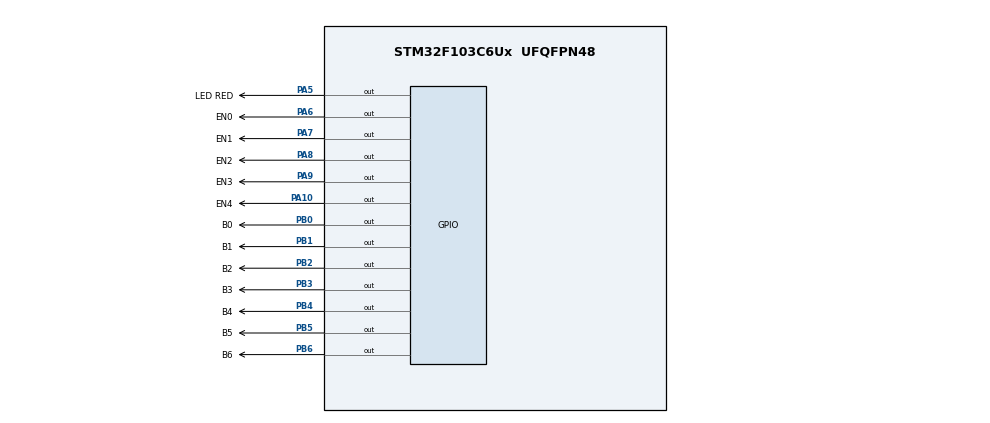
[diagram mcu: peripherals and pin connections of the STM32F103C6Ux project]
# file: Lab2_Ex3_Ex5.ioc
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Mcu.Family=STM32F1
Mcu.Name=STM32F103C6Ux
Mcu.Package=UFQFPN48
NVIC.PriorityGroup=NVIC_PRIORITYGROUP_4
NVIC.TIM2_IRQn=true\:0\:0\:false\:false\:true\:true\:true
PA10.GPIO_Label=EN4
PA10.Signal=GPIO_Output
PA13.Mode=Serial_Wire
PA13.Signal=SYS_JTMS-SWDIO
PA14.Mode=Serial_Wire
PA14.Signal=SYS_JTCK-SWCLK
PA5.GPIO_Label=LED RED
PA5.Signal=GPIO_Output
PA6.GPIO_Label=EN0
PA6.Signal=GPIO_Output
PA7.GPIO_Label=EN1
PA7.Signal=GPIO_Output
PA8.GPIO_Label=EN2
PA8.Signal=GPIO_Output
PA9.GPIO_Label=EN3
PA9.Signal=GPIO_Output
PB0.GPIO_Label=B0
PB0.Signal=GPIO_Output
PB1.GPIO_Label=B1
PB1.Signal=GPIO_Output
PB2.GPIO_Label=B2
PB2.Signal=GPIO_Output
PB3.GPIO_Label=B3
PB3.Signal=GPIO_Output
PB4.GPIO_Label=B4
PB4.Signal=GPIO_Output
PB5.GPIO_Label=B5
PB5.Signal=GPIO_Output
PB6.GPIO_Label=B6
PB6.Signal=GPIO_Output
ProjectManager.HeapSize=0x200
ProjectManager.StackSize=0x400
ProjectManager.TargetToolchain=STM32CubeIDE
RCC.APB1Freq_Value=8000000
RCC.APB2Freq_Value=8000000
TIM2.Period=9
TIM2.Prescaler=7999
VP_TIM2_VS_ClockSourceINT.Mode=Internal
board=custom

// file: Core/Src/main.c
/* USER CODE BEGIN Header */
/**
  ******************************************************************************
  * @file           : main.c
  * @brief          : Main program body
  ******************************************************************************
  * @attention
  *
  * <h2><center>&copy; Copyright (c) 2025 STMicroelectronics.
  * All rights reserved.</center></h2>
  *
  * This software component is licensed by ST under BSD 3-Clause license,
  * the "License"; You may not use this file except in compliance with the
  * License. You may obtain a copy of the License at:
  *                        opensource.org/licenses/BSD-3-Clause
  *
  ******************************************************************************
  */
/* USER CODE END Header */
#include "main.h"

/* USER CODE BEGIN Includes */
#include "software_timer.h"
/* USER CODE END Includes */

TIM_HandleTypeDef htim2;

/* USER CODE BEGIN PV */
const int MAX_LED = 4;
int index_led = 0;
int led_buffer[4] = {1, 5, 0, 8};
int hour=15, minute=8, second=50;
/* USER CODE END PV */

void SystemClock_Config(void);
static void MX_GPIO_Init(void);
static void MX_TIM2_Init(void);
/* USER CODE BEGIN PFP */
void display7SEG(int num);
void update7SEG(int index);
void updateClockBuffer();
/* USER CODE END PFP */

int main(void)
{

  /* MCU Configuration--------------------------------------------------------*/

  /* Reset of all peripherals, Initializes the Flash interface and the Systick. */
  HAL_Init();

  /* Configure the system clock */
  SystemClock_Config();

  /* Initialize all configured peripherals */
  MX_GPIO_Init();
  MX_TIM2_Init();
  /* USER CODE BEGIN 2 */
  HAL_TIM_Base_Start_IT(&htim2);
  /* USER CODE END 2 */

  /* Infinite loop */
  /* USER CODE BEGIN WHILE */
  setTimer(25);
  setTimer1(100);
  while (1)
  {
	  if (timer_flag == 1) {
		  //PA5 CHECK
		  HAL_GPIO_TogglePin(LED_RED_GPIO_Port, LED_RED_Pin);

		  //TO DO
		  update7SEG(index_led);
		  index_led = (index_led + 1) % MAX_LED;

		  //RESET
		  setTimer(25);
	  }

	  if (timer1_flag == 1) {
		  updateClockBuffer();
		  HAL_GPIO_TogglePin(EN4_GPIO_Port, EN4_Pin);

		  setTimer1(100);
	  }

    /* USER CODE END WHILE */

  }
}

void SystemClock_Config(void)
{
  RCC_OscInitTypeDef RCC_OscInitStruct = {0};
  RCC_ClkInitTypeDef RCC_ClkInitStruct = {0};

  /** Initializes the RCC Oscillators according to the specified parameters
  * in the RCC_OscInitTypeDef structure.
  */
  RCC_OscInitStruct.OscillatorType = RCC_OSCILLATORTYPE_HSI;
  RCC_OscInitStruct.HSIState = RCC_HSI_ON;
  RCC_OscInitStruct.HSICalibrationValue = RCC_HSICALIBRATION_DEFAULT;
  RCC_OscInitStruct.PLL.PLLState = RCC_PLL_NONE;
  if (HAL_RCC_OscConfig(&RCC_OscInitStruct) != HAL_OK)
  {
    Error_Handler();
  }
  /** Initializes the CPU, AHB and APB buses clocks
  */
  RCC_ClkInitStruct.ClockType = RCC_CLOCKTYPE_HCLK|RCC_CLOCKTYPE_SYSCLK
                              |RCC_CLOCKTYPE_PCLK1|RCC_CLOCKTYPE_PCLK2;
  RCC_ClkInitStruct.SYSCLKSource = RCC_SYSCLKSOURCE_HSI;
  RCC_ClkInitStruct.AHBCLKDivider = RCC_SYSCLK_DIV1;
  RCC_ClkInitStruct.APB1CLKDivider = RCC_HCLK_DIV1;
  RCC_ClkInitStruct.APB2CLKDivider = RCC_HCLK_DIV1;

  if (HAL_RCC_ClockConfig(&RCC_ClkInitStruct, FLASH_LATENCY_0) != HAL_OK)
  {
    Error_Handler();
  }
}

static void MX_TIM2_Init(void)
{

  TIM_ClockConfigTypeDef sClockSourceConfig = {0};
  TIM_MasterConfigTypeDef sMasterConfig = {0};

  htim2.Instance = TIM2;
  htim2.Init.Prescaler = 7999;
  htim2.Init.CounterMode = TIM_COUNTERMODE_UP;
  htim2.Init.Period = 9;
  htim2.Init.ClockDivision = TIM_CLOCKDIVISION_DIV1;
  htim2.Init.AutoReloadPreload = TIM_AUTORELOAD_PRELOAD_DISABLE;
  if (HAL_TIM_Base_Init(&htim2) != HAL_OK)
  {
    Error_Handler();
  }
  sClockSourceConfig.ClockSource = TIM_CLOCKSOURCE_INTERNAL;
  if (HAL_TIM_ConfigClockSource(&htim2, &sClockSourceConfig) != HAL_OK)
  {
    Error_Handler();
  }
  sMasterConfig.MasterOutputTrigger = TIM_TRGO_RESET;
  sMasterConfig.MasterSlaveMode = TIM_MASTERSLAVEMODE_DISABLE;
  if (HAL_TIMEx_MasterConfigSynchronization(&htim2, &sMasterConfig) != HAL_OK)
  {
    Error_Handler();
  }

}

static void MX_GPIO_Init(void)
{
  GPIO_InitTypeDef GPIO_InitStruct = {0};

  /* GPIO Ports Clock Enable */
  __HAL_RCC_GPIOA_CLK_ENABLE();
  __HAL_RCC_GPIOB_CLK_ENABLE();

  /*Configure GPIO pin Output Level */
  HAL_GPIO_WritePin(GPIOA, LED_RED_Pin|EN0_Pin|EN1_Pin|EN2_Pin
                          |EN3_Pin|EN4_Pin, GPIO_PIN_RESET);

  /*Configure GPIO pin Output Level */
  HAL_GPIO_WritePin(GPIOB, B0_Pin|B1_Pin|B2_Pin|B3_Pin
                          |B4_Pin|B5_Pin|B6_Pin, GPIO_PIN_RESET);

  /*Configure GPIO pins : LED_RED_Pin EN0_Pin EN1_Pin EN2_Pin
                           EN3_Pin EN4_Pin */
  GPIO_InitStruct.Pin = LED_RED_Pin|EN0_Pin|EN1_Pin|EN2_Pin
                          |EN3_Pin|EN4_Pin;
  GPIO_InitStruct.Mode = GPIO_MODE_OUTPUT_PP;
  GPIO_InitStruct.Pull = GPIO_NOPULL;
  GPIO_InitStruct.Speed = GPIO_SPEED_FREQ_LOW;
  HAL_GPIO_Init(GPIOA, &GPIO_InitStruct);

  /*Configure GPIO pins : B0_Pin B1_Pin B2_Pin B3_Pin
                           B4_Pin B5_Pin B6_Pin */
  GPIO_InitStruct.Pin = B0_Pin|B1_Pin|B2_Pin|B3_Pin
                          |B4_Pin|B5_Pin|B6_Pin;
  GPIO_InitStruct.Mode = GPIO_MODE_OUTPUT_PP;
  GPIO_InitStruct.Pull = GPIO_NOPULL;
  GPIO_InitStruct.Speed = GPIO_SPEED_FREQ_LOW;
  HAL_GPIO_Init(GPIOB, &GPIO_InitStruct);

}

/* USER CODE BEGIN 4 */
void display7SEG(int num) {
	if (num == 0) {
		HAL_GPIO_WritePin(B0_GPIO_Port, B0_Pin, RESET);
		HAL_GPIO_WritePin(B1_GPIO_Port, B1_Pin, RESET);
		HAL_GPIO_WritePin(B2_GPIO_Port, B2_Pin, RESET);
		HAL_GPIO_WritePin(B3_GPIO_Port, B3_Pin, RESET);
		HAL_GPIO_WritePin(B4_GPIO_Port, B4_Pin, RESET);
		HAL_GPIO_WritePin(B5_GPIO_Port, B5_Pin, RESET);
		HAL_GPIO_WritePin(B6_GPIO_Port, B6_Pin, SET);
	}

	if (num == 1) {
		HAL_GPIO_WritePin(B0_GPIO_Port, B0_Pin, SET);
		HAL_GPIO_WritePin(B1_GPIO_Port, B1_Pin, RESET);
		HAL_GPIO_WritePin(B2_GPIO_Port, B2_Pin, RESET);
		HAL_GPIO_WritePin(B3_GPIO_Port, B3_Pin, SET);
		HAL_GPIO_WritePin(B4_GPIO_Port, B4_Pin, SET);
		HAL_GPIO_WritePin(B5_GPIO_Port, B5_Pin, SET);
		HAL_GPIO_WritePin(B6_GPIO_Port, B6_Pin, SET);
	}

	if (num == 2) {
		HAL_GPIO_WritePin(B0_GPIO_Port, B0_Pin, RESET);
		HAL_GPIO_WritePin(B1_GPIO_Port, B1_Pin, RESET);
		HAL_GPIO_WritePin(B2_GPIO_Port, B2_Pin, SET);
		HAL_GPIO_WritePin(B3_GPIO_Port, B3_Pin, RESET);
		HAL_GPIO_WritePin(B4_GPIO_Port, B4_Pin, RESET);
		HAL_GPIO_WritePin(B5_GPIO_Port, B5_Pin, SET);
		HAL_GPIO_WritePin(B6_GPIO_Port, B6_Pin, RESET);
	}

	if (num == 3) {
		HAL_GPIO_WritePin(B0_GPIO_Port, B0_Pin, RESET);
		HAL_GPIO_WritePin(B1_GPIO_Port, B1_Pin, RESET);
		HAL_GPIO_WritePin(B2_GPIO_Port, B2_Pin, RESET);
		HAL_GPIO_WritePin(B3_GPIO_Port, B3_Pin, RESET);
		HAL_GPIO_WritePin(B4_GPIO_Port, B4_Pin, SET);
		HAL_GPIO_WritePin(B5_GPIO_Port, B5_Pin, SET);
		HAL_GPIO_WritePin(B6_GPIO_Port, B6_Pin, RESET);
	}

	if (num == 4) {
		HAL_GPIO_WritePin(B0_GPIO_Port, B0_Pin, SET);
		HAL_GPIO_WritePin(B1_GPIO_Port, B1_Pin, RESET);
		HAL_GPIO_WritePin(B2_GPIO_Port, B2_Pin, RESET);
		HAL_GPIO_WritePin(B3_GPIO_Port, B3_Pin, SET);
		HAL_GPIO_WritePin(B4_GPIO_Port, B4_Pin, SET);
		HAL_GPIO_WritePin(B5_GPIO_Port, B5_Pin, RESET);
		HAL_GPIO_WritePin(B6_GPIO_Port, B6_Pin, RESET);
	}

	if (num == 5) {
		HAL_GPIO_WritePin(B0_GPIO_Port, B0_Pin, RESET);
		HAL_GPIO_WritePin(B1_GPIO_Port, B1_Pin, SET);
		HAL_GPIO_WritePin(B2_GPIO_Port, B2_Pin, RESET);
		HAL_GPIO_WritePin(B3_GPIO_Port, B3_Pin, RESET);
		HAL_GPIO_WritePin(B4_GPIO_Port, B4_Pin, SET);
		HAL_GPIO_WritePin(B5_GPIO_Port, B5_Pin, RESET);
		HAL_GPIO_WritePin(B6_GPIO_Port, B6_Pin, RESET);
	}

	if (num == 6) {
		HAL_GPIO_WritePin(B0_GPIO_Port, B0_Pin, RESET);
		HAL_GPIO_WritePin(B1_GPIO_Port, B1_Pin, SET);
		HAL_GPIO_WritePin(B2_GPIO_Port, B2_Pin, RESET);
		HAL_GPIO_WritePin(B3_GPIO_Port, B3_Pin, RESET);
		HAL_GPIO_WritePin(B4_GPIO_Port, B4_Pin, RESET);
		HAL_GPIO_WritePin(B5_GPIO_Port, B5_Pin, RESET);
		HAL_GPIO_WritePin(B6_GPIO_Port, B6_Pin, RESET);
	}

	if (num == 7) {
		HAL_GPIO_WritePin(B0_GPIO_Port, B0_Pin, RESET);
		HAL_GPIO_WritePin(B1_GPIO_Port, B1_Pin, RESET);
		HAL_GPIO_WritePin(B2_GPIO_Port, B2_Pin, RESET);
		HAL_GPIO_WritePin(B3_GPIO_Port, B3_Pin, SET);
		HAL_GPIO_WritePin(B4_GPIO_Port, B4_Pin, SET);
		HAL_GPIO_WritePin(B5_GPIO_Port, B5_Pin, SET);
		HAL_GPIO_WritePin(B6_GPIO_Port, B6_Pin, SET);
	}

	if (num == 8) {
		HAL_GPIO_WritePin(B0_GPIO_Port, B0_Pin, RESET);
		HAL_GPIO_WritePin(B1_GPIO_Port, B1_Pin, RESET);
		HAL_GPIO_WritePin(B2_GPIO_Port, B2_Pin, RESET);
		HAL_GPIO_WritePin(B3_GPIO_Port, B3_Pin, RESET);
		HAL_GPIO_WritePin(B4_GPIO_Port, B4_Pin, RESET);
		HAL_GPIO_WritePin(B5_GPIO_Port, B5_Pin, RESET);
		HAL_GPIO_WritePin(B6_GPIO_Port, B6_Pin, RESET);
	}

	if (num == 9) {
		HAL_GPIO_WritePin(B0_GPIO_Port, B0_Pin, RESET);
		HAL_GPIO_WritePin(B1_GPIO_Port, B1_Pin, RESET);
		HAL_GPIO_WritePin(B2_GPIO_Port, B2_Pin, RESET);
		HAL_GPIO_WritePin(B3_GPIO_Port, B3_Pin, RESET);
		HAL_GPIO_WritePin(B4_GPIO_Port, B4_Pin, SET);
		HAL_GPIO_WritePin(B5_GPIO_Port, B5_Pin, RESET);
		HAL_GPIO_WritePin(B6_GPIO_Port, B6_Pin, RESET);
	}
}

void update7SEG(int index) {
	HAL_GPIO_WritePin(EN0_GPIO_Port, EN0_Pin, SET);
	HAL_GPIO_WritePin(EN1_GPIO_Port, EN1_Pin, SET);
	HAL_GPIO_WritePin(EN2_GPIO_Port, EN2_Pin, SET);
	HAL_GPIO_WritePin(EN3_GPIO_Port, EN3_Pin, SET);

	switch (index){
		case 0:
			display7SEG(led_buffer[0]);
			HAL_GPIO_WritePin(EN0_GPIO_Port, EN0_Pin, RESET);
			break;
		case 1:
			display7SEG(led_buffer[1]);
			HAL_GPIO_WritePin(EN1_GPIO_Port, EN1_Pin, RESET);
			break;
		case 2:
			display7SEG(led_buffer[2]);
			HAL_GPIO_WritePin(EN2_GPIO_Port, EN2_Pin, RESET);
			break;
		case 3:
			display7SEG(led_buffer[3]);
			HAL_GPIO_WritePin(EN3_GPIO_Port, EN3_Pin, RESET);
			break;
		default:
		break;
	}
}

void updateClockBuffer() {
	second++;

	if (second >= 60) {
		second = 0;

		minute++;
	}

	if (minute >= 60) {
		minute = 0;

		hour++;
	}

	if (hour >= 24) {
		hour = 0;
	}

	led_buffer[0] = hour / 10;
	led_buffer[1] = hour % 10;
	led_buffer[2] = minute / 10;
	led_buffer[3] = minute % 10;
}

void HAL_TIM_PeriodElapsedCallback(TIM_HandleTypeDef *htim) {
	timerRun();
}
/* USER CODE END 4 */

void Error_Handler(void)
{
  __disable_irq();
  while (1)
  {
  }
}

/************************ (C) COPYRIGHT STMicroelectronics *****END OF FILE****/
